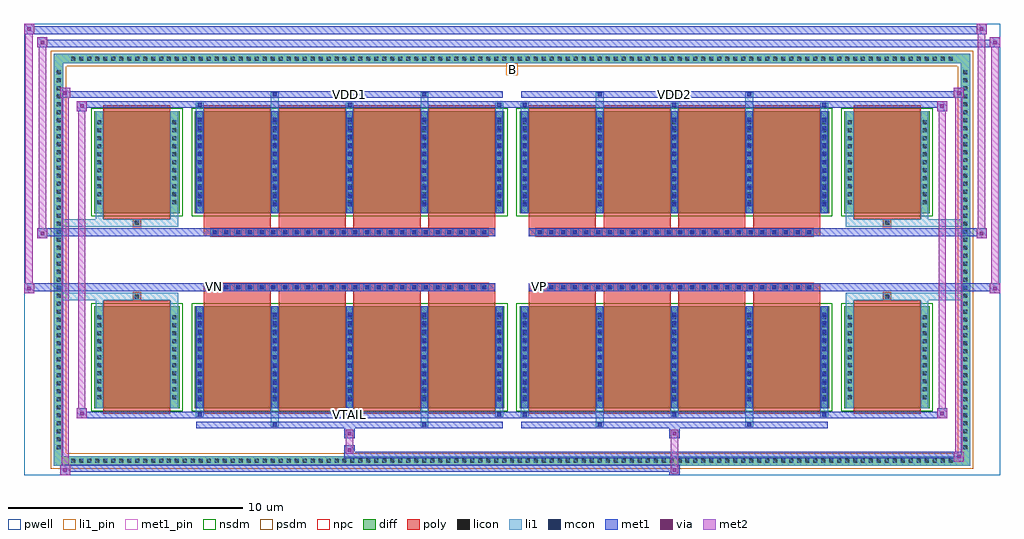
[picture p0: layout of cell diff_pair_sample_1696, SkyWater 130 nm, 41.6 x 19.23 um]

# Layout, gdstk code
import gdstk
lib = gdstk.Library(unit=1e-6, precision=5e-09)
def R(c, l, rs):  # rectangles x0, y0, x1, y1
    for r in rs: c.add(gdstk.rectangle(r[:2], r[2:], *l))
def A(c, l, x, y, w, h, nx, ny, dx, dy):  # array of equal rectangles
    R(c, l, [(x+i*dx, y+j*dy, x+i*dx+w, y+j*dy+h) for i in range(nx) for j in range(ny)])
def P(c, l, *ps):  # polygons
    for p in ps: c.add(gdstk.Polygon(p, *l))
pwell = (64, 44)
diff = (65, 20)
poly = (66, 20)
licon = (66, 44)
li1_pin = (67, 16)
li1 = (67, 20)
mcon = (67, 44)
met1_pin = (68, 16)
met1 = (68, 20)
via = (68, 44)
met2 = (69, 20)
nsdm = (93, 44)
psdm = (94, 20)
npc = (95, 20)

diff_pair_sample_1696 = lib.new_cell('diff_pair_sample_1696')
R(diff_pair_sample_1696, pwell, [(-20.8,-9.18,20.8,10.05), (-18.12,-7.37,-0.01,-0.805), (0.01,-7.37,18.12,-0.805), (-18.12,0.805,-0.01,7.37), (0.01,0.805,18.12,7.37)])
A(diff_pair_sample_1696, diff, -18.905, -8.78, 0.41, 0.41, 111, 2, 0.34, 17.15)
A(diff_pair_sample_1696, diff, -19.53, -8.195, 0.41, 0.41, 1, 48, 0, 0.34)
A(diff_pair_sample_1696, diff, 19.12, -8.195, 0.41, 0.41, 1, 48, 0, 0.34)
R(diff_pair_sample_1696, diff, [(-18.905,-8.78,18.905,-8.37), (-19.53,-8.195,-19.12,8.195), (19.12,-8.195,19.53,8.195), (-17.81,-6.325,-14.17,-1.985), (-13.53,-6.325,-0.32,-1.985), (0.32,-6.325,13.53,-1.985), (14.17,-6.325,17.81,-1.985), (-17.81,1.985,-14.17,6.325), (-13.53,1.985,-0.32,6.325), (0.32,1.985,13.53,6.325), (14.17,1.985,17.81,6.325), (-18.905,8.37,18.905,8.78)])
P(diff_pair_sample_1696, diff, [(19.53,8.78),(-19.53,8.78),(-19.53,-8.37),(-19.12,-8.37),(-19.12,8.37),(19.12,8.37),(19.12,-8.37),(-19.12,-8.37),(-19.53,-8.37),(-19.53,-8.78),(19.53,-8.78)])
A(diff_pair_sample_1696, poly, -13.14, -6.575, 2.86, 4.84, 4, 2, 3.19, 8.31)
A(diff_pair_sample_1696, poly, 0.71, -6.575, 2.86, 4.84, 4, 2, 3.19, 8.31)
A(diff_pair_sample_1696, poly, -13.14, -1.735, 2.86, 0.4, 4, 2, 3.19, 3.07)
A(diff_pair_sample_1696, poly, 0.71, -1.735, 2.86, 0.4, 4, 2, 3.19, 3.07)
A(diff_pair_sample_1696, poly, -12.84, -1.335, 0.33, 0.33, 24, 2, 0.5, 2.34)
A(diff_pair_sample_1696, poly, 1.01, -1.335, 0.33, 0.33, 24, 2, 0.5, 2.34)
R(diff_pair_sample_1696, poly, [(-17.42,-6.575,-14.56,-1.735), (14.56,-6.575,17.42,-1.735), (-16.155,-1.735,-15.825,-1.405), (-16.155,-1.735,-15.825,-1.405), (15.825,-1.735,16.155,-1.405), (15.825,-1.735,16.155,-1.405), (-13.14,-1.335,-0.71,-1.005), (0.71,-1.335,13.14,-1.005), (-13.14,1.005,-0.71,1.335), (0.71,1.005,13.14,1.335), (-16.155,1.405,-15.825,1.735), (-16.155,1.405,-15.825,1.735), (15.825,1.405,16.155,1.735), (15.825,1.405,16.155,1.735), (-17.42,1.735,-14.56,6.575), (14.56,1.735,17.42,6.575)])
A(diff_pair_sample_1696, licon, -18.785, -8.66, 0.17, 0.17, 111, 2, 0.34, 17.15)
A(diff_pair_sample_1696, licon, -19.41, -8.075, 0.17, 0.17, 1, 48, 0, 0.34)
A(diff_pair_sample_1696, licon, 19.24, -8.075, 0.17, 0.17, 1, 48, 0, 0.34)
A(diff_pair_sample_1696, licon, -17.67, -5.94, 0.17, 0.17, 1, 11, 0, 0.34)
A(diff_pair_sample_1696, licon, -14.48, -5.94, 0.17, 0.17, 1, 11, 0, 0.34)
A(diff_pair_sample_1696, licon, -13.39, -5.94, 0.17, 0.17, 5, 11, 3.19, 0.34)
A(diff_pair_sample_1696, licon, 0.46, -5.94, 0.17, 0.17, 5, 11, 3.19, 0.34)
A(diff_pair_sample_1696, licon, 14.31, -5.94, 0.17, 0.17, 1, 11, 0, 0.34)
A(diff_pair_sample_1696, licon, 17.5, -5.94, 0.17, 0.17, 1, 11, 0, 0.34)
A(diff_pair_sample_1696, licon, -12.76, -1.255, 0.17, 0.17, 24, 2, 0.5, 2.34)
A(diff_pair_sample_1696, licon, 1.09, -1.255, 0.17, 0.17, 24, 2, 0.5, 2.34)
A(diff_pair_sample_1696, licon, -17.67, 2.37, 0.17, 0.17, 1, 11, 0, 0.34)
A(diff_pair_sample_1696, licon, -14.48, 2.37, 0.17, 0.17, 1, 11, 0, 0.34)
A(diff_pair_sample_1696, licon, -13.39, 2.37, 0.17, 0.17, 5, 11, 3.19, 0.34)
A(diff_pair_sample_1696, licon, 0.46, 2.37, 0.17, 0.17, 5, 11, 3.19, 0.34)
A(diff_pair_sample_1696, licon, 14.31, 2.37, 0.17, 0.17, 1, 11, 0, 0.34)
A(diff_pair_sample_1696, licon, 17.5, 2.37, 0.17, 0.17, 1, 11, 0, 0.34)
R(diff_pair_sample_1696, licon, [(-16.075,-1.655,-15.905,-1.485), (15.905,-1.655,16.075,-1.485), (-16.075,1.485,-15.905,1.655), (15.905,1.485,16.075,1.655)])
R(diff_pair_sample_1696, li1_pin, [(-0.25,7.87,0.25,8.37)])
A(diff_pair_sample_1696, li1, -18.865, -8.74, 0.33, 0.33, 111, 2, 0.34, 17.15)
A(diff_pair_sample_1696, li1, -19.49, -8.155, 0.33, 0.33, 1, 48, 0, 0.34)
A(diff_pair_sample_1696, li1, 19.16, -8.155, 0.33, 0.33, 1, 48, 0, 0.34)
A(diff_pair_sample_1696, li1, -13.47, -6.7, 0.33, 0.375, 3, 2, 6.38, 13.025)
A(diff_pair_sample_1696, li1, -13.39, -6.7, 0.17, 0.17, 3, 2, 6.38, 13.23)
A(diff_pair_sample_1696, li1, 0.38, -6.7, 0.33, 0.375, 3, 2, 6.38, 13.025)
A(diff_pair_sample_1696, li1, 0.46, -6.7, 0.17, 0.17, 3, 2, 6.38, 13.23)
A(diff_pair_sample_1696, li1, -13.47, -6.325, 0.33, 4.34, 5, 2, 3.19, 8.31)
A(diff_pair_sample_1696, li1, 0.38, -6.325, 0.33, 4.34, 5, 2, 3.19, 8.31)
A(diff_pair_sample_1696, li1, -13.39, -6.04, 0.17, 0.17, 5, 11, 3.19, 0.36)
A(diff_pair_sample_1696, li1, -13.39, -6.04, 0.17, 3.77, 5, 2, 3.19, 8.31)
A(diff_pair_sample_1696, li1, 0.46, -6.04, 0.17, 0.17, 5, 11, 3.19, 0.36)
A(diff_pair_sample_1696, li1, 0.46, -6.04, 0.17, 3.77, 5, 2, 3.19, 8.31)
A(diff_pair_sample_1696, li1, -17.75, -6.02, 0.33, 0.33, 1, 11, 0, 0.34)
A(diff_pair_sample_1696, li1, -14.56, -6.02, 0.33, 0.33, 1, 11, 0, 0.34)
A(diff_pair_sample_1696, li1, -13.47, -6.02, 0.33, 0.33, 5, 11, 3.19, 0.34)
A(diff_pair_sample_1696, li1, 0.38, -6.02, 0.33, 0.33, 5, 11, 3.19, 0.34)
A(diff_pair_sample_1696, li1, 14.23, -6.02, 0.33, 0.33, 1, 11, 0, 0.34)
A(diff_pair_sample_1696, li1, 17.42, -6.02, 0.33, 0.33, 1, 11, 0, 0.34)
A(diff_pair_sample_1696, li1, -12.84, -1.335, 0.33, 0.33, 24, 2, 0.5, 2.34)
A(diff_pair_sample_1696, li1, 1.01, -1.335, 0.33, 0.33, 24, 2, 0.5, 2.34)
A(diff_pair_sample_1696, li1, -13.39, 2.27, 0.17, 0.17, 5, 11, 3.19, 0.36)
A(diff_pair_sample_1696, li1, 0.46, 2.27, 0.17, 0.17, 5, 11, 3.19, 0.36)
A(diff_pair_sample_1696, li1, -17.75, 2.29, 0.33, 0.33, 1, 11, 0, 0.34)
A(diff_pair_sample_1696, li1, -14.56, 2.29, 0.33, 0.33, 1, 11, 0, 0.34)
A(diff_pair_sample_1696, li1, -13.47, 2.29, 0.33, 0.33, 5, 11, 3.19, 0.34)
A(diff_pair_sample_1696, li1, 0.38, 2.29, 0.33, 0.33, 5, 11, 3.19, 0.34)
A(diff_pair_sample_1696, li1, 14.23, 2.29, 0.33, 0.33, 1, 11, 0, 0.34)
A(diff_pair_sample_1696, li1, 17.42, 2.29, 0.33, 0.33, 1, 11, 0, 0.34)
R(diff_pair_sample_1696, li1, [(-19.53,-8.78,-19.12,-8.37), (-19.53,-8.78,-19.12,-8.37), (-19.12,-8.78,19.12,-8.37), (19.12,-8.78,19.53,-8.37), (19.12,-8.78,19.53,-8.37), (-19.53,-8.37,-19.12,8.37), (19.12,-8.37,19.53,8.37), (-10.28,-7.13,-9.95,-6.325), (-10.2,-7.13,-10.03,-6.96), (-3.9,-7.13,-3.57,-6.325), (-3.82,-7.13,-3.65,-6.96), (3.57,-7.13,3.9,-6.325), (3.65,-7.13,3.82,-6.96), (9.95,-7.13,10.28,-6.325), (10.03,-7.13,10.2,-6.96), (-17.75,-6.325,-17.42,-1.985), (-14.56,-6.325,-14.23,-1.985), (14.23,-6.325,14.56,-1.985), (17.42,-6.325,17.75,-1.985), (-17.75,-1.985,-17.42,-1.405), (-14.56,-1.985,-14.23,-1.405), (14.23,-1.985,14.56,-1.405), (17.42,-1.985,17.75,-1.405), (-19.53,-1.735,-16.155,-1.405), (-17.75,-1.735,-16.155,-1.405), (-16.155,-1.735,-15.825,-1.405), (-15.825,-1.735,-14.23,-1.405), (14.23,-1.735,15.825,-1.405), (15.825,-1.735,16.155,-1.405), (15.825,-1.735,19.53,-1.405), (16.155,-1.735,17.75,-1.405), (-19.53,1.405,-16.155,1.735), (-17.75,1.405,-16.155,1.735), (-17.75,1.405,-17.42,1.985), (-16.155,1.405,-15.825,1.735), (-15.825,1.405,-14.23,1.735), (-14.56,1.405,-14.23,1.985), (14.23,1.405,15.825,1.735), (14.23,1.405,14.56,1.985), (15.825,1.405,16.155,1.735), (15.825,1.405,19.53,1.735), (16.155,1.405,17.75,1.735), (17.42,1.405,17.75,1.985), (-17.75,1.985,-17.42,6.325), (-14.56,1.985,-14.23,6.325), (14.23,1.985,14.56,6.325), (17.42,1.985,17.75,6.325), (-10.28,6.325,-9.95,7.13), (-3.9,6.325,-3.57,7.13), (3.57,6.325,3.9,7.13), (9.95,6.325,10.28,7.13), (-10.2,6.96,-10.03,7.13), (-3.82,6.96,-3.65,7.13), (3.65,6.96,3.82,7.13), (10.03,6.96,10.2,7.13), (-19.53,8.37,-19.12,8.78), (-19.53,8.37,-19.12,8.78), (-19.12,8.37,19.12,8.78), (19.12,8.37,19.53,8.78), (19.12,8.37,19.53,8.78)])
A(diff_pair_sample_1696, mcon, -13.39, -6.7, 0.17, 0.17, 3, 2, 6.38, 13.23)
A(diff_pair_sample_1696, mcon, 0.46, -6.7, 0.17, 0.17, 3, 2, 6.38, 13.23)
A(diff_pair_sample_1696, mcon, -13.39, -6.04, 0.17, 0.17, 5, 11, 3.19, 0.36)
A(diff_pair_sample_1696, mcon, 0.46, -6.04, 0.17, 0.17, 5, 11, 3.19, 0.36)
A(diff_pair_sample_1696, mcon, -12.76, -1.255, 0.17, 0.17, 24, 2, 0.5, 2.34)
A(diff_pair_sample_1696, mcon, 1.09, -1.255, 0.17, 0.17, 24, 2, 0.5, 2.34)
A(diff_pair_sample_1696, mcon, -13.39, 2.27, 0.17, 0.17, 5, 11, 3.19, 0.36)
A(diff_pair_sample_1696, mcon, 0.46, 2.27, 0.17, 0.17, 5, 11, 3.19, 0.36)
R(diff_pair_sample_1696, mcon, [(-10.2,-7.13,-10.03,-6.96), (-3.82,-7.13,-3.65,-6.96), (3.65,-7.13,3.82,-6.96), (10.03,-7.13,10.2,-6.96), (-10.2,6.96,-10.03,7.13), (-3.82,6.96,-3.65,7.13), (3.65,6.96,3.82,7.13), (10.03,6.96,10.2,7.13)])
R(diff_pair_sample_1696, met1_pin, [(-7.06,-6.74,-6.79,-6.47), (-12.81,-1.295,-12.54,-1.025), (1.04,-1.295,1.31,-1.025), (-7.06,6.92,-6.79,7.19), (6.79,6.92,7.06,7.19)])
A(diff_pair_sample_1696, met1, -13.45, -6.76, 0.29, 0.29, 3, 2, 6.38, 13.23)
A(diff_pair_sample_1696, met1, 0.4, -6.76, 0.29, 0.29, 3, 2, 6.38, 13.23)
A(diff_pair_sample_1696, met1, -13.45, -6.325, 0.29, 4.34, 5, 2, 3.19, 8.31)
A(diff_pair_sample_1696, met1, 0.4, -6.325, 0.29, 4.34, 5, 2, 3.19, 8.31)
A(diff_pair_sample_1696, met1, -13.45, -6.1, 0.29, 0.29, 5, 11, 3.19, 0.36)
A(diff_pair_sample_1696, met1, 0.4, -6.1, 0.29, 0.29, 5, 11, 3.19, 0.36)
A(diff_pair_sample_1696, met1, -12.82, -1.315, 0.29, 0.29, 24, 2, 0.5, 2.34)
A(diff_pair_sample_1696, met1, 1.03, -1.315, 0.29, 0.29, 24, 2, 0.5, 2.34)
A(diff_pair_sample_1696, met1, -13.45, 2.21, 0.29, 0.29, 5, 11, 3.19, 0.36)
A(diff_pair_sample_1696, met1, 0.4, 2.21, 0.29, 0.29, 5, 11, 3.19, 0.36)
R(diff_pair_sample_1696, met1, [(-19.26,-9.18,-18.83,-8.75), (6.71,-9.18,7.14,-8.75), (-19.26,-9.04,7.14,-8.75), (18.83,-8.61,19.26,-8.18), (-7.14,-8.47,19.26,-8.18), (-7.14,-8.33,-6.71,-7.9), (-7.14,-7.62,-6.71,-7.19), (6.71,-7.62,7.14,-7.19), (-13.45,-7.19,-0.4,-6.9), (-10.26,-7.19,-9.97,-6.9), (-3.88,-7.19,-3.59,-6.9), (0.4,-7.19,13.45,-6.9), (3.59,-7.19,3.88,-6.9), (9.97,-7.19,10.26,-6.9), (-18.55,-6.76,-18.12,-6.33), (-18.55,-6.76,-13.45,-6.47), (-13.45,-6.76,-0.4,-6.47), (-0.4,-6.76,0.4,-6.47), (0.4,-6.76,13.45,-6.47), (13.45,-6.76,18.55,-6.47), (18.12,-6.76,18.55,-6.33), (-20.8,-1.435,-20.37,-1.005), (20.37,-1.435,20.8,-1.005), (-20.8,-1.335,-0.71,-1.005), (-13.14,-1.335,-0.71,-1.005), (0.71,-1.335,13.14,-1.005), (0.71,-1.335,20.8,-1.005), (-20.23,0.905,-19.8,1.335), (19.8,0.905,20.23,1.335), (-20.23,1.005,-13.14,1.335), (-13.14,1.005,-0.71,1.335), (0.71,1.005,13.14,1.335), (13.14,1.005,20.23,1.335), (-18.55,6.33,-18.12,6.76), (18.12,6.33,18.55,6.76), (-18.55,6.47,-13.45,6.76), (-13.45,6.47,-0.4,6.76), (-0.4,6.47,0.4,6.76), (0.4,6.47,13.45,6.76), (13.45,6.47,18.55,6.76), (-19.26,6.9,-18.83,7.33), (-19.26,6.9,-13.45,7.19), (-13.45,6.9,-0.4,7.19), (-10.26,6.9,-9.97,7.19), (-3.88,6.9,-3.59,7.19), (0.4,6.9,13.45,7.19), (3.59,6.9,3.88,7.19), (9.97,6.9,10.26,7.19), (13.45,6.9,19.26,7.19), (18.83,6.9,19.26,7.33), (-20.23,9.05,-19.8,9.48), (-20.23,9.05,-18.12,9.38), (-18.12,9.05,18.12,9.38), (18.12,9.05,20.8,9.38), (20.37,9.05,20.8,9.48), (-20.8,9.62,-20.37,10.05), (-20.8,9.62,-18.12,9.95), (-18.12,9.62,18.12,9.95), (18.12,9.62,20.23,9.95), (19.8,9.62,20.23,10.05)])
R(diff_pair_sample_1696, via, [(-19.12,-9.04,-18.97,-8.89), (6.85,-9.04,7,-8.89), (18.97,-8.47,19.12,-8.32), (-7,-8.19,-6.85,-8.04), (-7,-7.48,-6.85,-7.33), (6.85,-7.48,7,-7.33), (-18.41,-6.62,-18.26,-6.47), (18.26,-6.62,18.41,-6.47), (-20.66,-1.295,-20.51,-1.145), (20.51,-1.295,20.66,-1.145), (-20.09,1.045,-19.94,1.195), (19.94,1.045,20.09,1.195), (-18.41,6.47,-18.26,6.62), (18.26,6.47,18.41,6.62), (-19.12,7.04,-18.97,7.19), (18.97,7.04,19.12,7.19), (-20.09,9.19,-19.94,9.34), (20.51,9.19,20.66,9.34), (-20.66,9.76,-20.51,9.91), (19.94,9.76,20.09,9.91)])
R(diff_pair_sample_1696, met2, [(-19.26,-9.18,-18.83,-8.75), (-19.19,-9.18,-18.9,7.33), (-18.9,-9.18,-18.83,-8.75), (-19.21,-9.13,-18.88,-8.8), (6.76,-9.13,7.09,-8.8), (6.76,-8.8,7.09,-7.57), (18.83,-8.61,19.26,-8.18), (18.9,-8.61,19.19,7.33), (19.19,-8.61,19.26,-8.18), (18.88,-8.56,19.21,-8.23), (-7.09,-8.28,-6.76,-7.95), (-7.09,-7.95,-6.76,-7.57), (-7.09,-7.57,-6.76,-7.24), (6.76,-7.57,7.09,-7.24), (-18.55,-6.76,-18.12,-6.33), (-18.48,-6.76,-18.19,6.76), (-18.19,-6.76,-18.12,-6.33), (18.12,-6.76,18.55,-6.33), (18.19,-6.76,18.48,6.76), (18.48,-6.76,18.55,-6.33), (-18.5,-6.71,-18.17,-6.38), (18.17,-6.71,18.5,-6.38), (-20.8,-1.435,-20.37,-1.005), (-20.75,-1.435,-20.42,10.05), (-20.42,-1.435,-20.37,-1.005), (20.37,-1.435,20.8,-1.005), (20.42,-1.435,20.75,9.48), (20.75,-1.435,20.8,-1.005), (-20.75,-1.385,-20.42,-1.055), (20.42,-1.385,20.75,-1.055), (-20.23,0.905,-19.8,1.335), (-20.18,0.905,-19.85,9.48), (-19.85,0.905,-19.8,1.335), (19.8,0.905,20.23,1.335), (19.85,0.905,20.18,10.05), (20.18,0.905,20.23,1.335), (-20.18,0.955,-19.85,1.285), (19.85,0.955,20.18,1.285), (-18.55,6.33,-18.12,6.76), (-18.19,6.33,-18.12,6.76), (18.12,6.33,18.55,6.76), (18.48,6.33,18.55,6.76), (-18.5,6.38,-18.17,6.71), (18.17,6.38,18.5,6.71), (-19.26,6.9,-18.83,7.33), (-18.9,6.9,-18.83,7.33), (18.83,6.9,19.26,7.33), (19.19,6.9,19.26,7.33), (-19.21,6.95,-18.88,7.28), (18.88,6.95,19.21,7.28), (-20.23,9.05,-19.8,9.48), (-19.85,9.05,-19.8,9.48), (20.37,9.05,20.8,9.48), (20.75,9.05,20.8,9.48), (-20.18,9.1,-19.85,9.43), (20.42,9.1,20.75,9.43), (-20.8,9.62,-20.37,10.05), (-20.42,9.62,-20.37,10.05), (19.8,9.62,20.23,10.05), (20.18,9.62,20.23,10.05), (-20.75,9.67,-20.42,10), (19.85,9.67,20.18,10)])
R(diff_pair_sample_1696, nsdm, [(-17.94,-6.455,-14.04,-1.855), (-13.66,-6.455,-0.19,-1.855), (0.19,-6.455,13.66,-1.855), (14.04,-6.455,17.94,-1.855), (-17.94,1.855,-14.04,6.455), (-13.66,1.855,-0.19,6.455), (0.19,1.855,13.66,6.455), (14.04,1.855,17.94,6.455)])
P(diff_pair_sample_1696, psdm, [(19.66,8.91),(-19.66,8.91),(-19.66,-8.24),(-18.99,-8.24),(-18.99,8.24),(18.99,8.24),(18.99,-8.24),(-18.99,-8.24),(-19.66,-8.24),(-19.66,-8.91),(19.66,-8.91)])
A(diff_pair_sample_1696, npc, -12.86, -1.355, 0.37, 0.37, 24, 2, 0.5, 2.34)
A(diff_pair_sample_1696, npc, 0.99, -1.355, 0.37, 0.37, 24, 2, 0.5, 2.34)
R(diff_pair_sample_1696, npc, [(-16.175,-1.755,-15.805,-1.385), (15.805,-1.755,16.175,-1.385), (-12.86,-1.355,-11.99,-0.985), (-12.86,-1.355,-11.99,-0.985), (-12.36,-1.355,-11.49,-0.985), (-12.36,-1.355,-11.49,-0.985), (-11.86,-1.355,-10.99,-0.985), (-11.86,-1.355,-10.99,-0.985), (-11.36,-1.355,-10.49,-0.985), (-11.36,-1.355,-10.49,-0.985), (-10.86,-1.355,-9.99,-0.985), (-10.86,-1.355,-9.99,-0.985), (-10.36,-1.355,-9.49,-0.985), (-10.36,-1.355,-9.49,-0.985), (-9.86,-1.355,-8.99,-0.985), (-9.86,-1.355,-8.99,-0.985), (-9.36,-1.355,-8.49,-0.985), (-9.36,-1.355,-8.49,-0.985), (-8.86,-1.355,-7.99,-0.985), (-8.86,-1.355,-7.99,-0.985), (-8.36,-1.355,-7.49,-0.985), (-8.36,-1.355,-7.49,-0.985), (-7.86,-1.355,-6.99,-0.985), (-7.86,-1.355,-6.99,-0.985), (-7.36,-1.355,-6.49,-0.985), (-7.36,-1.355,-6.49,-0.985), (-6.86,-1.355,-5.99,-0.985), (-6.86,-1.355,-5.99,-0.985), (-6.36,-1.355,-5.49,-0.985), (-6.36,-1.355,-5.49,-0.985), (-5.86,-1.355,-4.99,-0.985), (-5.86,-1.355,-4.99,-0.985), (-5.36,-1.355,-4.49,-0.985), (-5.36,-1.355,-4.49,-0.985), (-4.86,-1.355,-3.99,-0.985), (-4.86,-1.355,-3.99,-0.985), (-4.36,-1.355,-3.49,-0.985), (-4.36,-1.355,-3.49,-0.985), (-3.86,-1.355,-2.99,-0.985), (-3.86,-1.355,-2.99,-0.985), (-3.36,-1.355,-2.49,-0.985), (-3.36,-1.355,-2.49,-0.985), (-2.86,-1.355,-1.99,-0.985), (-2.86,-1.355,-1.99,-0.985), (-2.36,-1.355,-1.49,-0.985), (-2.36,-1.355,-1.49,-0.985), (-1.86,-1.355,-0.99,-0.985), (-1.86,-1.355,-0.99,-0.985), (0.99,-1.355,1.86,-0.985), (0.99,-1.355,1.86,-0.985), (1.49,-1.355,2.36,-0.985), (1.49,-1.355,2.36,-0.985), (1.99,-1.355,2.86,-0.985), (1.99,-1.355,2.86,-0.985), (2.49,-1.355,3.36,-0.985), (2.49,-1.355,3.36,-0.985), (2.99,-1.355,3.86,-0.985), (2.99,-1.355,3.86,-0.985), (3.49,-1.355,4.36,-0.985), (3.49,-1.355,4.36,-0.985), (3.99,-1.355,4.86,-0.985), (3.99,-1.355,4.86,-0.985), (4.49,-1.355,5.36,-0.985), (4.49,-1.355,5.36,-0.985), (4.99,-1.355,5.86,-0.985), (4.99,-1.355,5.86,-0.985), (5.49,-1.355,6.36,-0.985), (5.49,-1.355,6.36,-0.985), (5.99,-1.355,6.86,-0.985), (5.99,-1.355,6.86,-0.985), (6.49,-1.355,7.36,-0.985), (6.49,-1.355,7.36,-0.985), (6.99,-1.355,7.86,-0.985), (6.99,-1.355,7.86,-0.985), (7.49,-1.355,8.36,-0.985), (7.49,-1.355,8.36,-0.985), (7.99,-1.355,8.86,-0.985), (7.99,-1.355,8.86,-0.985), (8.49,-1.355,9.36,-0.985), (8.49,-1.355,9.36,-0.985), (8.99,-1.355,9.86,-0.985), (8.99,-1.355,9.86,-0.985), (9.49,-1.355,10.36,-0.985), (9.49,-1.355,10.36,-0.985), (9.99,-1.355,10.86,-0.985), (9.99,-1.355,10.86,-0.985), (10.49,-1.355,11.36,-0.985), (10.49,-1.355,11.36,-0.985), (10.99,-1.355,11.86,-0.985), (10.99,-1.355,11.86,-0.985), (11.49,-1.355,12.36,-0.985), (11.49,-1.355,12.36,-0.985), (11.99,-1.355,12.86,-0.985), (11.99,-1.355,12.86,-0.985), (-12.86,0.985,-11.99,1.355), (-12.86,0.985,-11.99,1.355), (-12.36,0.985,-11.49,1.355), (-12.36,0.985,-11.49,1.355), (-11.86,0.985,-10.99,1.355), (-11.86,0.985,-10.99,1.355), (-11.36,0.985,-10.49,1.355), (-11.36,0.985,-10.49,1.355), (-10.86,0.985,-9.99,1.355), (-10.86,0.985,-9.99,1.355), (-10.36,0.985,-9.49,1.355), (-10.36,0.985,-9.49,1.355), (-9.86,0.985,-8.99,1.355), (-9.86,0.985,-8.99,1.355), (-9.36,0.985,-8.49,1.355), (-9.36,0.985,-8.49,1.355), (-8.86,0.985,-7.99,1.355), (-8.86,0.985,-7.99,1.355), (-8.36,0.985,-7.49,1.355), (-8.36,0.985,-7.49,1.355), (-7.86,0.985,-6.99,1.355), (-7.86,0.985,-6.99,1.355), (-7.36,0.985,-6.49,1.355), (-7.36,0.985,-6.49,1.355), (-6.86,0.985,-5.99,1.355), (-6.86,0.985,-5.99,1.355), (-6.36,0.985,-5.49,1.355), (-6.36,0.985,-5.49,1.355), (-5.86,0.985,-4.99,1.355), (-5.86,0.985,-4.99,1.355), (-5.36,0.985,-4.49,1.355), (-5.36,0.985,-4.49,1.355), (-4.86,0.985,-3.99,1.355), (-4.86,0.985,-3.99,1.355), (-4.36,0.985,-3.49,1.355), (-4.36,0.985,-3.49,1.355), (-3.86,0.985,-2.99,1.355), (-3.86,0.985,-2.99,1.355), (-3.36,0.985,-2.49,1.355), (-3.36,0.985,-2.49,1.355), (-2.86,0.985,-1.99,1.355), (-2.86,0.985,-1.99,1.355), (-2.36,0.985,-1.49,1.355), (-2.36,0.985,-1.49,1.355), (-1.86,0.985,-0.99,1.355), (-1.86,0.985,-0.99,1.355), (0.99,0.985,1.86,1.355), (0.99,0.985,1.86,1.355), (1.49,0.985,2.36,1.355), (1.49,0.985,2.36,1.355), (1.99,0.985,2.86,1.355), (1.99,0.985,2.86,1.355), (2.49,0.985,3.36,1.355), (2.49,0.985,3.36,1.355), (2.99,0.985,3.86,1.355), (2.99,0.985,3.86,1.355), (3.49,0.985,4.36,1.355), (3.49,0.985,4.36,1.355), (3.99,0.985,4.86,1.355), (3.99,0.985,4.86,1.355), (4.49,0.985,5.36,1.355), (4.49,0.985,5.36,1.355), (4.99,0.985,5.86,1.355), (4.99,0.985,5.86,1.355), (5.49,0.985,6.36,1.355), (5.49,0.985,6.36,1.355), (5.99,0.985,6.86,1.355), (5.99,0.985,6.86,1.355), (6.49,0.985,7.36,1.355), (6.49,0.985,7.36,1.355), (6.99,0.985,7.86,1.355), (6.99,0.985,7.86,1.355), (7.49,0.985,8.36,1.355), (7.49,0.985,8.36,1.355), (7.99,0.985,8.86,1.355), (7.99,0.985,8.86,1.355), (8.49,0.985,9.36,1.355), (8.49,0.985,9.36,1.355), (8.99,0.985,9.86,1.355), (8.99,0.985,9.86,1.355), (9.49,0.985,10.36,1.355), (9.49,0.985,10.36,1.355), (9.99,0.985,10.86,1.355), (9.99,0.985,10.86,1.355), (10.49,0.985,11.36,1.355), (10.49,0.985,11.36,1.355), (10.99,0.985,11.86,1.355), (10.99,0.985,11.86,1.355), (11.49,0.985,12.36,1.355), (11.49,0.985,12.36,1.355), (11.99,0.985,12.86,1.355), (11.99,0.985,12.86,1.355), (-16.175,1.385,-15.805,1.755), (15.805,1.385,16.175,1.755)])
diff_pair_sample_1696.add(gdstk.Label('VTAIL', (-6.925,-6.605), layer=68, texttype=5))
diff_pair_sample_1696.add(gdstk.Label('VN', (-12.675,-1.16), layer=68, texttype=5))
diff_pair_sample_1696.add(gdstk.Label('VP', (1.175,-1.16), layer=68, texttype=5))
diff_pair_sample_1696.add(gdstk.Label('B', (0,8.12), layer=67, texttype=5))
diff_pair_sample_1696.add(gdstk.Label('VDD2', (6.925,7.055), layer=68, texttype=5))
diff_pair_sample_1696.add(gdstk.Label('VDD1', (-6.925,7.055), layer=68, texttype=5))

lib.write_gds('diff_pair_sample_1696.gds')
